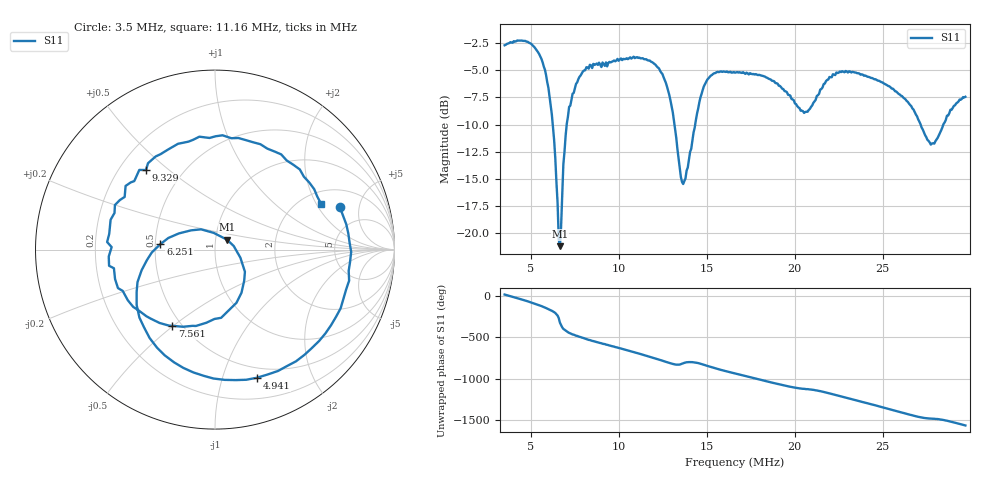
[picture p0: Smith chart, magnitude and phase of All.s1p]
# Hz S RI R 50
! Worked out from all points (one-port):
!   401 points, 3.5 MHz to 29.7 MHz, reference 50 ohm
!   lowest |S11| = -21.2 dB at 6.644 MHz (marker M1), VSWR 1.19, Z = 56.8 + j6.31 ohm
!   |S11| at or under -10 dB: 6.235 MHz to 7.031 MHz (796 kHz wide, 12 % of centre); 13.16 MHz to 14.34 MHz (1.179 MHz wide, 8.57 % of centre); 27.15 MHz to 28.45 MHz (1.291 MHz wide, 4.64 % of centre)
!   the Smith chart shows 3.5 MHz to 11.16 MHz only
!   S11 on the Smith chart (normalised r, x): 3.5 MHz: 3.06, +3.17; 4.941 MHz: 0.40, -1.30; 6.251 MHz: 0.53, +0.04; 7.561 MHz: 0.44, -0.50; 9.329 MHz: 0.31, +0.42; 11.16 MHz: 2.53, +2.20
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3500000  0.6939 0.2392
4220500  0.6998 -0.3274
4941000  0.2327 -0.7141
5727000  -0.3961 -0.4316
6251000  -0.3041 0.0306
6644000  0.0673 0.0551
6775000  0.1414 -0.0449
7561000  -0.2387 -0.4247
8412500  -0.592 -0.0386
9329500  -0.3844 0.4434
1.005e7  0.00333 0.6314
1.11635e7  0.5919 0.2541
1.2408e7  0.3014 -0.4586
1.3325e7  -0.0816 -0.2302
1.36525e7  -0.00708 -0.1681
1.4242e7  0.0474 -0.2863
1.49625e7  -0.2508 -0.4304
1.57485e7  -0.5456 -0.102
1.66e7  -0.4472 0.3179
1.791e7  0.1306 0.5187
1.88925e7  0.451 0.1959
1.9875e7  0.3822 -0.1565
2.20365e7  -0.0924 -0.5148
2.315e7  -0.5283 -0.1714
2.4853e7  -0.1132 0.4869
2.6425e7  0.3934 0.0854
2.78005e7  0.189 -0.1767
2.97e7  -0.2416 -0.3494
